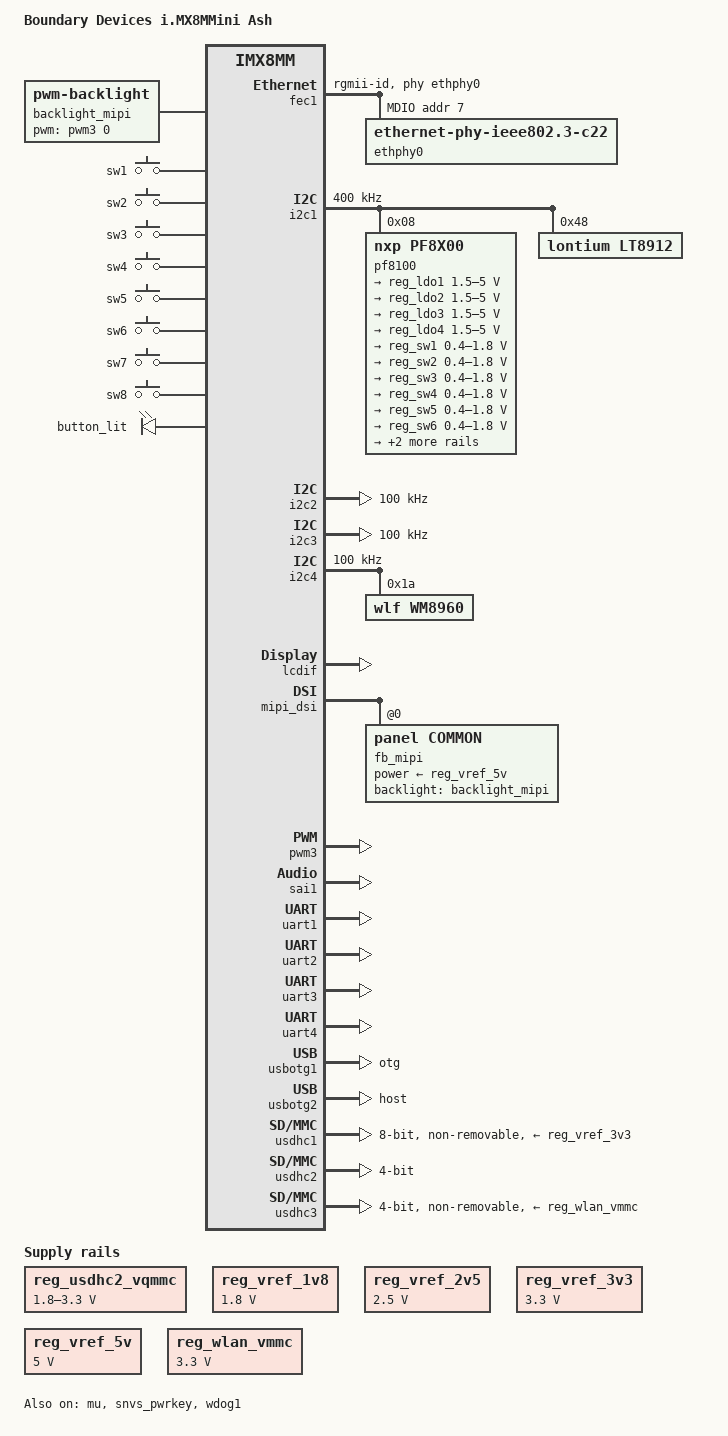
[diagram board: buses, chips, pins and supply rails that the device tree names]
// SPDX-License-Identifier: (GPL-2.0+ OR MIT)
/*
 * Copyright 2021 Boundary Devices
 */

/dts-v1/;
#include "imx8mm.dtsi"
#define MX8MMN(a, b)	MX8MM_##a b
#define IMX8MMN(a)	IMX8MM_##a

&iomuxc {
	pinctrl-names = "default";
	pinctrl-0 = <&pinctrl_hog>;

	pinctrl_backlight_mipi: bakclight-mipigrp {
		fsl,pins = <
#define GP_BACKLIGHT_MIPI_EN	<&gpio4 18 GPIO_ACTIVE_HIGH>
			MX8MMN(IOMUXC_SAI1_TXD6_GPIO4_IO18, 0x100)	/* U5(MIC2601) enable pin */
#define GP_DISPLAY_EN		<&gpio1 1 GPIO_ACTIVE_HIGH>
			MX8MMN(IOMUXC_GPIO1_IO01_GPIO1_IO1, 0x100)	/* J3 Pin 5 */
		>;
	};

	pinctrl_bt_rfkill: bt-rfkillgrp {
		fsl,pins = <
#define GP_BT_RFKILL_RESET	<&gpio4 25 GPIO_ACTIVE_LOW>
			MX8MMN(IOMUXC_SAI2_TXC_GPIO4_IO25, 0x100)
		>;
	};

	pinctrl_fec1: fec1grp {
		fsl,pins = <
			/* PAD_CTL_ODE is screwy on 8mm mini, avoid it */
			MX8MMN(IOMUXC_ENET_MDC_ENET1_MDC, 0x00)
			MX8MMN(IOMUXC_ENET_MDIO_ENET1_MDIO, 0x00)
			MX8MMN(IOMUXC_ENET_RD0_ENET1_RGMII_RD0, 0x91)
			MX8MMN(IOMUXC_ENET_RD1_ENET1_RGMII_RD1, 0x91)
			MX8MMN(IOMUXC_ENET_RD2_ENET1_RGMII_RD2, 0x91)
			MX8MMN(IOMUXC_ENET_RD3_ENET1_RGMII_RD3, 0x91)
			MX8MMN(IOMUXC_ENET_RXC_ENET1_RGMII_RXC, 0x91)
			MX8MMN(IOMUXC_ENET_RX_CTL_ENET1_RGMII_RX_CTL, 0x91)
			MX8MMN(IOMUXC_ENET_TD0_ENET1_RGMII_TD0, 0x1f)
			MX8MMN(IOMUXC_ENET_TD1_ENET1_RGMII_TD1, 0x1f)
			MX8MMN(IOMUXC_ENET_TD2_ENET1_RGMII_TD2, 0x1f)
			MX8MMN(IOMUXC_ENET_TD3_ENET1_RGMII_TD3, 0x1f)
			MX8MMN(IOMUXC_ENET_TXC_ENET1_RGMII_TXC, 0x1f)
			MX8MMN(IOMUXC_ENET_TX_CTL_ENET1_RGMII_TX_CTL, 0x1f)
#define GP_FEC1_RESET	<&gpio3 15 GPIO_ACTIVE_LOW>
			MX8MMN(IOMUXC_NAND_RE_B_GPIO3_IO15, 0x100)
#define GPIRQ_FEC1_PHY	<&gpio3 16 IRQ_TYPE_LEVEL_LOW>
			MX8MMN(IOMUXC_NAND_READY_B_GPIO3_IO16, 0x1c0)
		>;
	};

	pinctrl_gpio_keys: gpio-keysgrp {
		fsl,pins = <
#define GP_GPIOKEY_SW1	<&gpio3 21 GPIO_ACTIVE_HIGH>
			MX8MMN(IOMUXC_SAI5_RXD0_GPIO3_IO21, 0x1c0)
#define GP_GPIOKEY_SW2	<&gpio3 22 GPIO_ACTIVE_HIGH>
			MX8MMN(IOMUXC_SAI5_RXD1_GPIO3_IO22, 0x1c0)
#define GP_GPIOKEY_SW3	<&gpio3 23 GPIO_ACTIVE_HIGH>
			MX8MMN(IOMUXC_SAI5_RXD2_GPIO3_IO23, 0x1c0)
#define GP_GPIOKEY_SW4	<&gpio3 24 GPIO_ACTIVE_HIGH>
			MX8MMN(IOMUXC_SAI5_RXD3_GPIO3_IO24, 0x1c0)
#define GP_GPIOKEY_SW5	<&gpio5 2 GPIO_ACTIVE_HIGH>
			MX8MMN(IOMUXC_SAI3_MCLK_GPIO5_IO2, 0x1c0)
#define GP_GPIOKEY_SW6	<&gpio4 31 GPIO_ACTIVE_HIGH>
			MX8MMN(IOMUXC_SAI3_TXFS_GPIO4_IO31, 0x1c0)
#define GP_GPIOKEY_SW7	<&gpio5 0 GPIO_ACTIVE_HIGH>
			MX8MMN(IOMUXC_SAI3_TXC_GPIO5_IO0, 0x1c0)
#define GP_GPIOKEY_SW8	<&gpio5 1 GPIO_ACTIVE_HIGH>
			MX8MMN(IOMUXC_SAI3_TXD_GPIO5_IO1, 0x1c0)
		>;
	};

	pinctrl_gpio_leds: gpio-ledsgrp {
		fsl,pins = <
#define GP_BUTTON_LED	<&gpio1 8 GPIO_ACTIVE_LOW>
			MX8MMN(IOMUXC_GPIO1_IO08_GPIO1_IO8, 0x140)
                >;
        };

	pinctrl_hog: hoggrp {
		fsl,pins = <
			MX8MMN(IOMUXC_SAI2_RXC_GPIO4_IO22, 0x1c0)	/* BT_HOST_WAKE */
			MX8MMN(IOMUXC_SD2_WP_GPIO2_IO20, 0x140)		/* TP2 */
			MX8MMN(IOMUXC_SD2_RESET_B_GPIO2_IO19, 0x140)	/* TP7 */
			MX8MMN(IOMUXC_SAI2_MCLK_GPIO4_IO27, 0x140)	/* TP11 */
			MX8MMN(IOMUXC_SAI2_RXD0_GPIO4_IO23, 0x140)	/* TP12 */
			MX8MMN(IOMUXC_SAI3_RXFS_GPIO4_IO28, 0x140)	/* TP13 */
			MX8MMN(IOMUXC_SAI5_RXFS_GPIO3_IO19, 0x140)	/* TP22 */
			MX8MMN(IOMUXC_NAND_DATA01_GPIO3_IO7, 0x140)	/* TP23 */
			MX8MMN(IOMUXC_ECSPI2_SCLK_ECSPI2_SCLK, 0x140)	/* TP26 */
			MX8MMN(IOMUXC_ECSPI2_MISO_ECSPI2_MISO, 0x140)	/* TP27 */
			MX8MMN(IOMUXC_SAI5_RXC_GPIO3_IO20, 0x140)	/* TP30 */
			MX8MMN(IOMUXC_NAND_DATA03_GPIO3_IO9, 0x140)	/* TP31 */
			MX8MMN(IOMUXC_SAI1_RXD2_GPIO4_IO4, 0x140)	/* TP32 */
			MX8MMN(IOMUXC_SAI1_RXD4_GPIO4_IO6, 0x140)	/* TP33 */
			MX8MMN(IOMUXC_GPIO1_IO14_GPIO1_IO14, 0x140)	/* TP34 */
			MX8MMN(IOMUXC_GPIO1_IO15_GPIO1_IO15, 0x140)	/* TP36 */
			MX8MMN(IOMUXC_UART3_TXD_GPIO5_IO27, 0x140)	/* TP37 */
			MX8MMN(IOMUXC_GPIO1_IO03_GPIO1_IO3, 0x140)	/* TP38 */
			MX8MMN(IOMUXC_SPDIF_RX_PWM2_OUT, 0x140)		/* TP39 */
		>;
	};

	pinctrl_i2c1: i2c1grp {
		fsl,pins = <
			MX8MMN(IOMUXC_I2C1_SCL_I2C1_SCL, 0x400001c3)
			MX8MMN(IOMUXC_I2C1_SDA_I2C1_SDA, 0x400001c3)
		>;
	};

	pinctrl_i2c1_1: i2c1_1grp {
		fsl,pins = <
#define GP_I2C1_SCL	<&gpio5 14 GPIO_OPEN_DRAIN>
			MX8MMN(IOMUXC_I2C1_SCL_GPIO5_IO14, 0x400001c3)
#define GP_I2C1_SDA	<&gpio5 15 GPIO_OPEN_DRAIN>
			MX8MMN(IOMUXC_I2C1_SDA_GPIO5_IO15, 0x400001c3)
		>;
	};

	pinctrl_i2c1_lt8912: i2c1-lt8912grp {
		fsl,pins = <
#define GP_LT8912_RESET	<&gpio3 6 GPIO_ACTIVE_LOW>
			MX8MMN(IOMUXC_NAND_DATA00_GPIO3_IO6, 0x100)
#define GPIRQ_LT8912	<&gpio3 8 IRQ_TYPE_LEVEL_LOW>
			MX8MMN(IOMUXC_NAND_DATA02_GPIO3_IO8, 0x1c0)
		>;
	};

	pinctrl_i2c1_pf8100: i2c1-pf8100grp {
		fsl,pins = <
#define GP_I2C1_PF8100_EWARN	<&gpio3 3 GPIO_ACTIVE_LOW>
			MX8MMN(IOMUXC_NAND_CE2_B_GPIO3_IO3, 0x1c0)
#define GP_I2C1_PF8100_FAULT	<&gpio3 4 GPIO_ACTIVE_LOW>
			MX8MMN(IOMUXC_NAND_CE3_B_GPIO3_IO4, 0x1c0)
		>;
	};

	pinctrl_i2c2: i2c2grp {
		fsl,pins = <
			MX8MMN(IOMUXC_I2C2_SCL_I2C2_SCL, 0x400001c3)
			MX8MMN(IOMUXC_I2C2_SDA_I2C2_SDA, 0x400001c3)
			MX8MMN(IOMUXC_GPIO1_IO09_GPIO1_IO9, 0x1c0)
		>;
	};

	pinctrl_i2c2_1: i2c2_1grp {
		fsl,pins = <
#define GP_I2C2_SCL	<&gpio5 16 GPIO_OPEN_DRAIN>
			MX8MMN(IOMUXC_I2C2_SCL_GPIO5_IO16, 0x400001c3)
#define GP_I2C2_SDA	<&gpio5 17 GPIO_OPEN_DRAIN>
			MX8MMN(IOMUXC_I2C2_SDA_GPIO5_IO17, 0x400001c3)
		>;
	};

	pinctrl_ts_cyttsp5: ts-cyttsp5grp {
		fsl,pins = <
#define GPIRQ_CYTTSP5 		<&gpio1 6 IRQ_TYPE_EDGE_FALLING>
#define GP_CYTTSP5_IRQ		<&gpio1 6 GPIO_ACTIVE_LOW>
			MX8MMN(IOMUXC_GPIO1_IO06_GPIO1_IO6, 0x1c0)
			MX8MMN(IOMUXC_GPIO1_IO07_GPIO1_IO7, 0x140)
		>;
	};

	pinctrl_ts_gt911: ts-gt911grp {
		fsl,pins = <
#define GPIRQ_GT911 		<&gpio1 6 IRQ_TYPE_LEVEL_HIGH>
#define GP_GT911_IRQ 		<&gpio1 6 GPIO_ACTIVE_HIGH>
			MX8MMN(IOMUXC_GPIO1_IO06_GPIO1_IO6, 0x1c0)
			/* driver writes levels, instead of active/inactive */
#define GP_GT911_RESET		<&gpio1 7 GPIO_ACTIVE_HIGH>
			MX8MMN(IOMUXC_GPIO1_IO07_GPIO1_IO7, 0x100)
		>;
	};

	pinctrl_ts_ft5x06: ts-ft5x06grp {
		fsl,pins = <
#define GPIRQ_TS_FT5X06	<&gpio1 6 IRQ_TYPE_EDGE_FALLING>
#define GP_TS_FT5X06_WAKE	<&gpio1 6 GPIO_ACTIVE_LOW>
			MX8MMN(IOMUXC_GPIO1_IO06_GPIO1_IO6, 0x1c0)
#define GP_TS_FT5X06_RESET	<&gpio1 7 GPIO_ACTIVE_LOW>
			MX8MMN(IOMUXC_GPIO1_IO07_GPIO1_IO7, 0x100)
		>;
	};

	pinctrl_i2c3: i2c3grp {
		fsl,pins = <
			MX8MMN(IOMUXC_I2C3_SCL_I2C3_SCL, 0x400001c3)
			MX8MMN(IOMUXC_I2C3_SDA_I2C3_SDA, 0x400001c3)
		>;
	};

	pinctrl_i2c3_1: i2c3_1grp {
		fsl,pins = <
#define GP_I2C3_SCL	<&gpio5 18 GPIO_OPEN_DRAIN>
			MX8MMN(IOMUXC_I2C3_SCL_GPIO5_IO18, 0x400001c3)
#define GP_I2C3_SDA	<&gpio5 19 GPIO_OPEN_DRAIN>
			MX8MMN(IOMUXC_I2C3_SDA_GPIO5_IO19, 0x400001c3)
		>;
	};

	pinctrl_i2c3_rv4162: i2c3-rv4162grp {
		fsl,pins = <
#define GPIRQ_RV4162		<&gpio3 25 IRQ_TYPE_LEVEL_LOW>
			MX8MMN(IOMUXC_SAI5_MCLK_GPIO3_IO25, 0x1c0)
		>;
	};

	pinctrl_i2c4: i2c4grp {
		fsl,pins = <
			MX8MMN(IOMUXC_I2C4_SCL_I2C4_SCL, 0x400001c3)
			MX8MMN(IOMUXC_I2C4_SDA_I2C4_SDA, 0x400001c3)
		>;
	};

	pinctrl_i2c4_1: i2c4_1grp {
		fsl,pins = <
#define GP_I2C4_SCL	<&gpio5 20 GPIO_OPEN_DRAIN>
			MX8MMN(IOMUXC_I2C4_SCL_GPIO5_IO20, 0x400001c3)
#define GP_I2C4_SDA	<&gpio5 21 GPIO_OPEN_DRAIN>
			MX8MMN(IOMUXC_I2C4_SDA_GPIO5_IO21, 0x400001c3)
		>;
	};

	pinctrl_pwm3: pwm3grp {
		fsl,pins = <
			MX8MMN(IOMUXC_SPDIF_TX_PWM3_OUT, 0x100)
		>;
	};

	pinctrl_reg_usdhc2_vqmmc: reg_usdhc2_vqmmcgrp {
		fsl,pins = <
#define GP_REG_USDHC2_VSEL	<&gpio3 2 GPIO_ACTIVE_HIGH>
			MX8MMN(IOMUXC_NAND_CE1_B_GPIO3_IO2, 0x100)
		>;
	};

	pinctrl_reg_wlan_vmmc: reg-wlan-vmmcgrp {
		fsl,pins = <
#define GP_REG_WLAN_VMMC	<&gpio4 26 GPIO_ACTIVE_HIGH>
			MX8MMN(IOMUXC_SAI2_TXD0_GPIO4_IO26, 0x100)
		>;
	};

	pinctrl_sai1: sai1grp {
		fsl,pins = <
			/* wm8960 */
			MX8MMN(IOMUXC_SAI1_MCLK_SAI1_MCLK, 0xd6)
			MX8MMN(IOMUXC_SAI1_TXFS_SAI1_TX_SYNC, 0xd6)
			MX8MMN(IOMUXC_SAI1_TXC_SAI1_TX_BCLK, 0xd6)
			MX8MMN(IOMUXC_SAI1_TXD0_SAI1_TX_DATA0, 0xd6)
			MX8MMN(IOMUXC_SAI1_RXD0_SAI1_RX_DATA0, 0xd6)
		>;
	};

	pinctrl_sound_wm8960: sound-wm8960grp {
		fsl,pins = <
#define GP_WM8960_MIC_DET	<&gpio1 10 GPIO_ACTIVE_LOW>
			MX8MMN(IOMUXC_GPIO1_IO10_GPIO1_IO10, 0x80)
#define GP_TDA7991_STDBY	<&gpio4 16 GPIO_ACTIVE_LOW>	/* Low is standby */
			MX8MMN(IOMUXC_SAI1_TXD4_GPIO4_IO16, 0x100)
#define GP_TDA7991_MUTE		<&gpio4 13 GPIO_ACTIVE_LOW>
			MX8MMN(IOMUXC_SAI1_TXD1_GPIO4_IO13, 0x100)
#define GP_TDA7991_G0		<&gpio4 15 GPIO_ACTIVE_HIGH>
			MX8MMN(IOMUXC_SAI1_TXD3_GPIO4_IO15, 0x100)
#define GP_TDA7991_G1		<&gpio4 14 GPIO_ACTIVE_HIGH>
			MX8MMN(IOMUXC_SAI1_TXD2_GPIO4_IO14, 0x100)
		>;
	};

	pinctrl_uart1: uart1grp {
		fsl,pins = <
			MX8MMN(IOMUXC_UART1_RXD_UART1_DCE_RX, 0x140)
			MX8MMN(IOMUXC_UART1_TXD_UART1_DCE_TX, 0x140)
#define GP_UART1_TX_EN		<&gpio5 26 GPIO_ACTIVE_HIGH>
			MX8MMN(IOMUXC_UART3_RXD_GPIO5_IO26, 0x140)
#define GP_UART1_RXD_LED	<&gpio4 0 GPIO_ACTIVE_LOW>
			MX8MMN(IOMUXC_SAI1_RXFS_GPIO4_IO0, 0x140)
#define GP_UART1_TXD_LED	<&gpio4 1 GPIO_ACTIVE_LOW>
			MX8MMN(IOMUXC_SAI1_RXC_GPIO4_IO1, 0x140)
		>;
	};

	pinctrl_uart2: uart2grp {
		fsl,pins = <
			MX8MMN(IOMUXC_UART2_RXD_UART2_DCE_RX, 0x140)
			MX8MMN(IOMUXC_UART2_TXD_UART2_DCE_TX, 0x140)
		>;
	};

	pinctrl_uart3: uart3grp {
		fsl,pins = <
			MX8MMN(IOMUXC_ECSPI1_SCLK_UART3_DCE_RX, 0x140)
			MX8MMN(IOMUXC_ECSPI1_MOSI_UART3_DCE_TX, 0x140)
			MX8MMN(IOMUXC_ECSPI1_SS0_UART3_DCE_RTS_B, 0x140)
			MX8MMN(IOMUXC_ECSPI1_MISO_UART3_DCE_CTS_B, 0x140)
		>;
	};

	pinctrl_uart4: uart4grp {
		fsl,pins = <
			MX8MMN(IOMUXC_UART4_RXD_UART4_DCE_RX, 0x140)
			MX8MMN(IOMUXC_UART4_TXD_UART4_DCE_TX, 0x140)
		>;
	};

	pinctrl_usbotg1: usbotg1grp {
		fsl,pins = <
			MX8MMN(IOMUXC_GPIO1_IO12_USB1_OTG_PWR, 0x100)
			MX8MMN(IOMUXC_GPIO1_IO13_USB1_OTG_OC, 0x1c0)
		>;
	};

	pinctrl_usbotg2: usbotg2grp {
		fsl,pins = <
#define GP_OTG2_HUB_RESET	<&gpio5 13 GPIO_ACTIVE_LOW>
			MX8MMN(IOMUXC_ECSPI2_SS0_GPIO5_IO13, 0x100)
		>;
	};

	pinctrl_usdhc1: usdhc1grp {
		fsl,pins = <
			MX8MMN(IOMUXC_SD1_CLK_USDHC1_CLK, 0x190)
			MX8MMN(IOMUXC_SD1_CMD_USDHC1_CMD, 0x1d0)
			MX8MMN(IOMUXC_SD1_DATA0_USDHC1_DATA0, 0x1d0)
			MX8MMN(IOMUXC_SD1_DATA1_USDHC1_DATA1, 0x1d0)
			MX8MMN(IOMUXC_SD1_DATA2_USDHC1_DATA2, 0x1d0)
			MX8MMN(IOMUXC_SD1_DATA3_USDHC1_DATA3, 0x1d0)
			MX8MMN(IOMUXC_SD1_DATA4_USDHC1_DATA4, 0x1d0)
			MX8MMN(IOMUXC_SD1_DATA5_USDHC1_DATA5, 0x1d0)
			MX8MMN(IOMUXC_SD1_DATA6_USDHC1_DATA6, 0x1d0)
			MX8MMN(IOMUXC_SD1_DATA7_USDHC1_DATA7, 0x1d0)
#define GP_EMMC_RESET		<&gpio2 10 GPIO_ACTIVE_LOW>
			MX8MMN(IOMUXC_SD1_RESET_B_GPIO2_IO10, 0x141)
		>;
	};

	pinctrl_usdhc1_100mhz: usdhc1grp100mhz {
		fsl,pins = <
			MX8MMN(IOMUXC_SD1_CLK_USDHC1_CLK, 0x194)
			MX8MMN(IOMUXC_SD1_CMD_USDHC1_CMD, 0x1d4)
			MX8MMN(IOMUXC_SD1_DATA0_USDHC1_DATA0, 0x1d4)
			MX8MMN(IOMUXC_SD1_DATA1_USDHC1_DATA1, 0x1d4)
			MX8MMN(IOMUXC_SD1_DATA2_USDHC1_DATA2, 0x1d4)
			MX8MMN(IOMUXC_SD1_DATA3_USDHC1_DATA3, 0x1d4)
			MX8MMN(IOMUXC_SD1_DATA4_USDHC1_DATA4, 0x1d4)
			MX8MMN(IOMUXC_SD1_DATA5_USDHC1_DATA5, 0x1d4)
			MX8MMN(IOMUXC_SD1_DATA6_USDHC1_DATA6, 0x1d4)
			MX8MMN(IOMUXC_SD1_DATA7_USDHC1_DATA7, 0x1d4)
		>;
	};

	pinctrl_usdhc1_200mhz: usdhc1grp200mhz {
		fsl,pins = <
			MX8MMN(IOMUXC_SD1_CLK_USDHC1_CLK, 0x196)
			MX8MMN(IOMUXC_SD1_CMD_USDHC1_CMD, 0x1d6)
			MX8MMN(IOMUXC_SD1_DATA0_USDHC1_DATA0, 0x1d6)
			MX8MMN(IOMUXC_SD1_DATA1_USDHC1_DATA1, 0x1d6)
			MX8MMN(IOMUXC_SD1_DATA2_USDHC1_DATA2, 0x1d6)
			MX8MMN(IOMUXC_SD1_DATA3_USDHC1_DATA3, 0x1d6)
			MX8MMN(IOMUXC_SD1_DATA4_USDHC1_DATA4, 0x1d6)
			MX8MMN(IOMUXC_SD1_DATA5_USDHC1_DATA5, 0x1d6)
			MX8MMN(IOMUXC_SD1_DATA6_USDHC1_DATA6, 0x1d6)
			MX8MMN(IOMUXC_SD1_DATA7_USDHC1_DATA7, 0x1d6)
		>;
	};

	pinctrl_usdhc2: usdhc2grp {
		fsl,pins = <
			MX8MMN(IOMUXC_SD2_CLK_USDHC2_CLK, 0x190)
			MX8MMN(IOMUXC_SD2_CMD_USDHC2_CMD, 0x1d0)
			MX8MMN(IOMUXC_SD2_DATA0_USDHC2_DATA0, 0x1d0)
			MX8MMN(IOMUXC_SD2_DATA1_USDHC2_DATA1, 0x1d0)
			MX8MMN(IOMUXC_SD2_DATA2_USDHC2_DATA2, 0x1d0)
			MX8MMN(IOMUXC_SD2_DATA3_USDHC2_DATA3, 0x1d0)
#define GP_USDHC2_CD	<&gpio2 12 GPIO_ACTIVE_LOW>
			MX8MMN(IOMUXC_SD2_CD_B_GPIO2_IO12, 0x1c4)
		>;
	};

	pinctrl_usdhc2_100mhz: usdhc2grp100mhz {
		fsl,pins = <
			MX8MMN(IOMUXC_SD2_CLK_USDHC2_CLK, 0x194)
			MX8MMN(IOMUXC_SD2_CMD_USDHC2_CMD, 0x1d4)
			MX8MMN(IOMUXC_SD2_DATA0_USDHC2_DATA0, 0x1d4)
			MX8MMN(IOMUXC_SD2_DATA1_USDHC2_DATA1, 0x1d4)
			MX8MMN(IOMUXC_SD2_DATA2_USDHC2_DATA2, 0x1d4)
			MX8MMN(IOMUXC_SD2_DATA3_USDHC2_DATA3, 0x1d4)
		>;
	};

	pinctrl_usdhc2_200mhz: usdhc2grp200mhz {
		fsl,pins = <
			MX8MMN(IOMUXC_SD2_CLK_USDHC2_CLK, 0x196)
			MX8MMN(IOMUXC_SD2_CMD_USDHC2_CMD, 0x1d6)
			MX8MMN(IOMUXC_SD2_DATA0_USDHC2_DATA0, 0x1d6)
			MX8MMN(IOMUXC_SD2_DATA1_USDHC2_DATA1, 0x1d6)
			MX8MMN(IOMUXC_SD2_DATA2_USDHC2_DATA2, 0x1d6)
			MX8MMN(IOMUXC_SD2_DATA3_USDHC2_DATA3, 0x1d6)
		>;
	};

	pinctrl_usdhc3: usdhc3grp {
		fsl,pins = <
			MX8MMN(IOMUXC_NAND_WE_B_USDHC3_CLK, 0x190)
			MX8MMN(IOMUXC_NAND_WP_B_USDHC3_CMD, 0x1d0)
			MX8MMN(IOMUXC_NAND_DATA04_USDHC3_DATA0, 0x1d0)
			MX8MMN(IOMUXC_NAND_DATA05_USDHC3_DATA1, 0x1d0)
			MX8MMN(IOMUXC_NAND_DATA06_USDHC3_DATA2, 0x1d0)
			MX8MMN(IOMUXC_NAND_DATA07_USDHC3_DATA3, 0x1d0)
			/* Bluetooth slow clock */
			MX8MMN(IOMUXC_GPIO1_IO00_ANAMIX_REF_CLK_32K, 0x03)
			MX8MMN(IOMUXC_SAI2_TXFS_GPIO4_IO24, 0x140)	/* WL_IRQ */
			MX8MMN(IOMUXC_SAI2_RXFS_GPIO4_IO21, 0x140)	/* CLK_REQ */
		>;
	};

	pinctrl_usdhc3_100mhz: usdhc3grp100mhz {
		fsl,pins = <
			MX8MMN(IOMUXC_NAND_WE_B_USDHC3_CLK, 0x194)
			MX8MMN(IOMUXC_NAND_WP_B_USDHC3_CMD, 0x1d4)
			MX8MMN(IOMUXC_NAND_DATA04_USDHC3_DATA0, 0x1d4)
			MX8MMN(IOMUXC_NAND_DATA05_USDHC3_DATA1, 0x1d4)
			MX8MMN(IOMUXC_NAND_DATA06_USDHC3_DATA2, 0x1d4)
			MX8MMN(IOMUXC_NAND_DATA07_USDHC3_DATA3, 0x1d4)
		>;
	};

	pinctrl_usdhc3_200mhz: usdhc3grp200mhz {
		fsl,pins = <
			MX8MMN(IOMUXC_NAND_WE_B_USDHC3_CLK, 0x196)
			MX8MMN(IOMUXC_NAND_WP_B_USDHC3_CMD, 0x1d6)
			MX8MMN(IOMUXC_NAND_DATA04_USDHC3_DATA0, 0x1d6)
			MX8MMN(IOMUXC_NAND_DATA05_USDHC3_DATA1, 0x1d6)
			MX8MMN(IOMUXC_NAND_DATA06_USDHC3_DATA2, 0x1d6)
			MX8MMN(IOMUXC_NAND_DATA07_USDHC3_DATA3, 0x1d6)
		>;
	};

	pinctrl_wdog: wdoggrp {
		fsl,pins = <
			MX8MMN(IOMUXC_GPIO1_IO02_WDOG1_WDOG_B, 0x140)
		>;
	};
};

/ {
	model = "Boundary Devices i.MX8MMini Ash";
	compatible = "boundary,imx8mm-ash", "fsl,imx8mm";

	aliases {
		a53 = &A53_0;
		backlight_mipi = &backlight_mipi;
		fb_mipi = &fb_mipi;
		lcdif = &lcdif;
		mipi = &fb_mipi;
		mipi_dsi = &mipi_dsi;
		pwm_mipi = &pwm3;
		t_mipi = &t_mipi;
		ts_cyttsp5 = &ts_cyttsp5;
		ts_ft5x06 = &ts_ft5x06;
		ts_goodix = &ts_goodix;
	};

	backlight_mipi: backlight-mipi {
		brightness-levels = <0 1 2 3 4 5 6 7 8 9 10>;
		compatible = "pwm-backlight";
		default-brightness-level = <8>;
		display = <&display_subsystem>;
		enable-gpios = GP_BACKLIGHT_MIPI_EN;
		pinctrl-names = "default";
		pinctrl-0 = <&pinctrl_backlight_mipi>;
		pwms = <&pwm3 0 30000>;		/* 33.3 Khz */
		status = "okay";
	};

	bt-rfkill {
		compatible = "net,rfkill-gpio";
		pinctrl-names = "default";
		pinctrl-0 = <&pinctrl_bt_rfkill>;
		name = "bt-rfkill";
		type = <2>; /* Bluetooth */
		reset-gpios = GP_BT_RFKILL_RESET;
		status = "okay";
	};

	gpio-keys {
		compatible = "gpio-keys";
		pinctrl-names = "default";
		pinctrl-0 = <&pinctrl_gpio_keys>;

		sw1 {
			label = "sw1";
			gpios = GP_GPIOKEY_SW1;
			linux,code = <KEY_1>;
		};

		sw2 {
			label = "sw2";
			gpios = GP_GPIOKEY_SW2;
			linux,code = <KEY_2>;
		};

		sw3 {
			label = "sw3";
			gpios = GP_GPIOKEY_SW3;
			linux,code = <KEY_3>;
		};

		sw4 {
			label = "sw4";
			gpios = GP_GPIOKEY_SW4;
			linux,code = <KEY_4>;
		};

		sw5 {
			label = "sw5";
			gpios = GP_GPIOKEY_SW5;
			linux,code = <KEY_5>;
		};

		sw6 {
			label = "sw6";
			gpios = GP_GPIOKEY_SW6;
			linux,code = <KEY_6>;
		};

		sw7 {
			label = "sw7";
			gpios = GP_GPIOKEY_SW7;
			linux,code = <KEY_7>;
		};

		sw8 {
			label = "sw8";
			gpios = GP_GPIOKEY_SW8;
			linux,code = <KEY_8>;
		};
	};

	gpio_leds: leds {
		compatible = "gpio-leds";
		pinctrl-names = "default";
		pinctrl-0 = <&pinctrl_gpio_leds>;

		button_lit {
			default-state = "off";
			gpios = GP_BUTTON_LED;
			retain-state-suspended;
		};
	};

	reg_usdhc2_vqmmc: regulator-usdhc2-vqmmc {
		compatible = "regulator-gpio";
		pinctrl-names = "default";
		pinctrl-0 = <&pinctrl_reg_usdhc2_vqmmc>;
		regulator-name = "reg_sd2_vsel";
		regulator-min-microvolt = <1800000>;
		regulator-max-microvolt = <3300000>;
		regulator-type = "voltage";
		regulator-boot-on;
		regulator-always-on;
		gpios = GP_REG_USDHC2_VSEL;
		states = <1800000 0x1
			  3300000 0x0>;
	};

	reg_vref_1v8: regulator-vref-1v8 {
		compatible = "regulator-fixed";
		regulator-name = "vref-1v8";
		regulator-min-microvolt = <1800000>;
		regulator-max-microvolt = <1800000>;
	};

	reg_vref_2v5: regulator-vref-2v5 {
		compatible = "regulator-fixed";
		regulator-name = "vref-2v5";
		regulator-min-microvolt = <2500000>;
		regulator-max-microvolt = <2500000>;
	};

	reg_vref_3v3: regulator-vref-3v3 {
		compatible = "regulator-fixed";
		regulator-name = "vref-3v3";
		regulator-min-microvolt = <3300000>;
		regulator-max-microvolt = <3300000>;
	};

	reg_vref_5v: regulator-vref-5v {
		compatible = "regulator-fixed";
		regulator-name = "vref-5v";
		regulator-min-microvolt = <5000000>;
		regulator-max-microvolt = <5000000>;
	};

	reg_wlan_vmmc: regulator-wlan-vmmc {
		compatible = "regulator-fixed";
		pinctrl-names = "default";
		pinctrl-0 = <&pinctrl_reg_wlan_vmmc>;
		regulator-name = "reg_wlan_vmmc";
		regulator-min-microvolt = <3300000>;
		regulator-max-microvolt = <3300000>;
		gpio = GP_REG_WLAN_VMMC;
		startup-delay-us = <70000>;
		enable-active-high;
	};

#if 0
	sound-wm8960 {
		amp-gain-gpios = GP_TDA7991_G0, GP_TDA7991_G1;
		/* amp-gain-seq = /bits/ 8 <0 1 2 3>; */ /* default */
		amp-mute-gpios = GP_TDA7991_MUTE;
		/* delay between mute and standby enter */
		amp-standby-enter-wait-ms = <50>;
		/* delay between standby exit and unmute */
		amp-standby-exit-delay-ms = <100>;
		amp-standby-gpios = GP_TDA7991_STDBY;
		audio-codec = <&wm8960>;
		audio-routing =
			"Ext Spk", "HP_L",
			"Ext Spk", "HP_R",
			"LINPUT1", "Main MIC",
			"Main MIC", "MICB";
		codec-master;
		compatible = "fsl,imx-audio-wm8960";
		cpu-dai = <&sai1>;
		mic-det-gpios = GP_WM8960_MIC_DET;
		model = "wm8960-audio";
		pinctrl-names = "default";
		pinctrl-0 = <&pinctrl_sound_wm8960>;
	};
#endif
};

#if 0
&A53_0 {
	cpu-supply = <&reg_sw3>;
};
#endif

&fec1 {
	fsl,magic-packet;
	pinctrl-names = "default";
	pinctrl-0 = <&pinctrl_fec1>;
	phy-handle = <&ethphy0>;
	phy-mode = "rgmii-id";
#if 0
	phy-reset-duration = <10>;
	phy-reset-gpios = GP_FEC1_RESET;
	phy-reset-post-delay = <150>;
#endif
	status = "okay";

	mdio {
		#address-cells = <1>;
		#size-cells = <0>;

		ethphy0: ethernet-phy@7 {
			compatible = "ethernet-phy-ieee802.3-c22";
			reg = <7>;
			interrupts-extended = GPIRQ_FEC1_PHY;
			rxc-skew-ps = <1860>;
			txc-skew-ps = <1860>;
		};
	};
};

#if 0
&gpu {
	status = "okay";
};

&gpumix_pd {
	dvfs-supply = <&reg_sw4>;
	idle-microvolt = <850000 805000 900000>;
};
#endif

&i2c1 {
	clock-frequency = <400000>;
	pinctrl-names = "default", "gpio";
	pinctrl-0 = <&pinctrl_i2c1>;
	pinctrl-1 = <&pinctrl_i2c1_1>;
	scl-gpios = GP_I2C1_SCL;
	sda-gpios = GP_I2C1_SDA;
	status = "okay";

	pf8100@8 {
		compatible = "nxp,pf8x00";
		pinctrl-names = "default";
		pinctrl-0 = <&pinctrl_i2c1_pf8100>;
		reg = <0x08>;

		regulators {
			reg_ldo1: ldo1 {
				regulator-always-on;
				regulator-boot-on;
				regulator-max-microvolt = <5000000>;
				regulator-min-microvolt = <1500000>;
			};

			reg_ldo2: ldo2 {
				regulator-always-on;
				regulator-boot-on;
				regulator-max-microvolt = <5000000>;
				regulator-min-microvolt = <1500000>;
#if 0
				/* vselect low is 3.3V, high is 1.8V */
				vselect-en;
#endif
			};

			reg_ldo3: ldo3 {
				regulator-always-on;
				regulator-boot-on;
				regulator-max-microvolt = <5000000>;
				regulator-min-microvolt = <1500000>;
			};

			reg_ldo4: ldo4 {
				regulator-always-on;
				regulator-boot-on;
				regulator-max-microvolt = <5000000>;
				regulator-min-microvolt = <1500000>;
			};

			reg_sw1: sw1 {
				phase = <0>;
				ilim-ma = <4500>;
				regulator-always-on;
				regulator-boot-on;
				regulator-max-microvolt = <1800000>;
				regulator-min-microvolt =  <400000>;
			};

			reg_sw2: sw2 {
				regulator-always-on;
				regulator-boot-on;
				regulator-max-microvolt = <1800000>;
				regulator-min-microvolt =  <400000>;
			};

			reg_sw3: sw3 {
				regulator-always-on;
				regulator-boot-on;
				regulator-max-microvolt = <1800000>;
				regulator-min-microvolt =  <400000>;
				fast-slew = <1>;
			};

			reg_sw4: sw4 {
				regulator-always-on;
				regulator-boot-on;
				regulator-max-microvolt = <1800000>;
				regulator-min-microvolt =  <400000>;
				fast-slew = <1>;
			};

			reg_sw5: sw5 {
				regulator-always-on;
				regulator-boot-on;
				regulator-max-microvolt = <1800000>;
				regulator-min-microvolt =  <400000>;
			};

			reg_sw6: sw6 {
				regulator-always-on;
				regulator-boot-on;
				regulator-max-microvolt = <1800000>;
				regulator-min-microvolt =  <400000>;
			};

			reg_sw7: sw7 {
				regulator-always-on;
				regulator-boot-on;
				regulator-max-microvolt = <4100000>;
				regulator-min-microvolt = <1000000>;
			};

			reg_vsnvs: vsnvs {
				regulator-always-on;
				regulator-boot-on;
				regulator-max-microvolt = <3300000>;
				regulator-min-microvolt = <1800000>;
			};
		};
	};

	lt8912@48 {
		compatible = "lontium,lt8912" ;
		display-dsi = <&fb_mipi>;
		interrupts-extended = GPIRQ_LT8912;
		pinctrl-names = "default";
		pinctrl-0 = <&pinctrl_i2c1_lt8912>;
		reg = <0x48> ;
		reset-gpios = GP_LT8912_RESET;
	};
};

&i2c2 {
	clock-frequency = <100000>;
	pinctrl-names = "default", "gpio";
	pinctrl-0 = <&pinctrl_i2c2>;
	pinctrl-1 = <&pinctrl_i2c2_1>;
	scl-gpios = GP_I2C2_SCL;
	sda-gpios = GP_I2C2_SDA;
	status = "okay";

	ts_cyttsp5: touchscreen@24 {
		compatible = "cy,cyttsp5_i2c_adapter";
		cy,adapter_id = "cyttsp5_i2c_adapter";
		interrupts-extended = GPIRQ_CYTTSP5;
		pinctrl-names = "default";
		pinctrl-0 = <&pinctrl_ts_cyttsp5>;
		reg = <0x24>;
		status = "disabled";
		wakeup-gpios = GP_CYTTSP5_IRQ;

		cy,core {
			cy,name = "cyttsp5_core";
			cy,hid_desc_register = <1>;
			/* CY_CORE_FLAG_RESTORE_PARAMETERS */
			cy,flags = <4>;
			/* CY_CORE_EWG_NONE */
			cy,easy_wakeup_gesture = <0>;
			cy,btn_keys = <172 /* KEY_HOMEPAGE */
					   /* previously was KEY_HOME, new Android versions use KEY_HOMEPAGE */
				       139 /* KEY_MENU */
				       158 /* KEY_BACK */
				       217 /* KEY_SEARCH */
				       114 /* KEY_VOLUMEDOWN */
				       115 /* KEY_VOLUMEUP */
				       212 /* KEY_CAMERA */
				       116>; /* KEY_POWER */
			cy,btn_keys-tag = <0>;

			cy,mt {
				cy,name = "cyttsp5_mt";

				cy,inp_dev_name = "cyttsp5_mt";
				cy,flags = <0>;
				cy,abs =
					/* ABS_MT_POSITION_X, CY_ABS_MIN_X, CY_ABS_MAX_X, 0, 0 */
					<0x35 0 880 0 0
					/* ABS_MT_POSITION_Y, CY_ABS_MIN_Y, CY_ABS_MAX_Y, 0, 0 */
					0x36 0 1280 0 0
					/* ABS_MT_PRESSURE, CY_ABS_MIN_P, CY_ABS_MAX_P, 0, 0 */
					0x3a 0 255 0 0
					/* CY_IGNORE_VALUE, CY_ABS_MIN_W, CY_ABS_MAX_W, 0, 0 */
					0xffff 0 255 0 0
					/* ABS_MT_TRACKING_ID, CY_ABS_MIN_T, CY_ABS_MAX_T, 0, 0 */
					0x39 0 15 0 0
					/* ABS_MT_TOUCH_MAJOR, 0, 255, 0, 0 */
					0x30 0 255 0 0
					/* ABS_MT_TOUCH_MINOR, 0, 255, 0, 0 */
					0x31 0 255 0 0
					/* ABS_MT_ORIENTATION, -127, 127, 0, 0 */
					0x34 0xffffff81 127 0 0
					/* ABS_MT_TOOL_TYPE, 0, MT_TOOL_MAX, 0, 0 */
					0x37 0 1 0 0
					/* ABS_DISTANCE, 0, 255, 0, 0 */
					0x19 0 255 0 0>;

				cy,vkeys_x = <720>;
				cy,vkeys_y = <1280>;

				cy,virtual_keys = /* KeyCode CenterX CenterY Width Height */
					/* KEY_BACK */
					<158 1360 90 160 180
					/* KEY_MENU */
					139 1360 270 160 180
					/* KEY_HOMEPAGE */
					172 1360 450 160 180
					/* KEY SEARCH */
					217 1360 630 160 180>;
			};

			cy,btn {
				cy,name = "cyttsp5_btn";

				cy,inp_dev_name = "cyttsp5_btn";
			};

			cy,proximity {
				cy,name = "cyttsp5_proximity";

				cy,inp_dev_name = "cyttsp5_proximity";
				cy,abs =
					/* ABS_DISTANCE, CY_PROXIMITY_MIN_VAL, CY_PROXIMITY_MAX_VAL, 0, 0 */
					<0x19 0 1 0 0>;
			};
		};
	};

	ts_ft5x06: touchscreen@38 {
		compatible = "edt,ft5x06-ts";
		interrupts-extended = GPIRQ_TS_FT5X06;
		pinctrl-names = "default";
		pinctrl-0 = <&pinctrl_ts_ft5x06>;
		reg = <0x38>;
		reset-gpios = GP_TS_FT5X06_RESET;
		status = "disabled";
		wakeup-gpios = GP_TS_FT5X06_WAKE;
	};

	ts_goodix: touchscreen@5d {
		compatible = "goodix,gt9271";
		display = <&display_subsystem>;
		esd-recovery-timeout-ms = <2000>;
		interrupts-extended = GPIRQ_GT911;
		irq-gpios = GP_GT911_IRQ;
		pinctrl-names = "default";
		pinctrl-0 = <&pinctrl_ts_gt911>;
		reg = <0x5d>;
		reset-gpios = GP_GT911_RESET;
		status = "disabled";
	};
};

&i2c3 {
	clock-frequency = <100000>;
	pinctrl-names = "default", "gpio";
	pinctrl-0 = <&pinctrl_i2c3>;
	pinctrl-1 = <&pinctrl_i2c3_1>;
	scl-gpios = GP_I2C3_SCL;
	sda-gpios = GP_I2C3_SDA;
	status = "okay";

#if 0
	rtc@68 {
		compatible = "microcrystal,rv4162";
		pinctrl-names = "default";
		pinctrl-0 = <&pinctrl_i2c3_rv4162>;
		reg = <0x68>;
		interrupts-extended = GPIRQ_RV4162;
		wakeup-source;
	};
#endif
};

&i2c4 {
	clock-frequency = <100000>;
	pinctrl-names = "default", "gpio";
	pinctrl-0 = <&pinctrl_i2c4>;
	pinctrl-1 = <&pinctrl_i2c4_1>;
	scl-gpios = GP_I2C4_SCL;
	sda-gpios = GP_I2C4_SDA;
	status = "okay";

	wm8960: codec@1a {
		compatible = "wlf,wm8960";
		reg = <0x1a>;
		clocks = <&clk IMX8MMN(CLK_SAI1_ROOT)>;
		clock-names = "mclk";
		wlf,shared-lrclk;
	};
};

&lcdif {
	status = "okay";
};

&mipi_dsi {
	assigned-clocks = <&clk IMX8MMN(CLK_DSI_CORE)>,
			  <&clk IMX8MMN(CLK_DSI_PHY_REF)>,
			  <&clk IMX8MMN(VIDEO_PLL1_REF_SEL)>,
			  <&clk IMX8MMN(CLK_LCDIF_PIXEL)>;
	assigned-clock-parents = <&clk IMX8MMN(SYS_PLL1_266M)>,
				 <&clk IMX8MMN(VIDEO_PLL1_OUT)>,
				 <&clk IMX8MMN(CLK_24M)>;
	assigned-clock-rates = <266000000>, <0>, <0>, <66000000>;

	clocks = <&clk IMX8MMN(CLK_DSI_CORE)>,
		 <&clk IMX8MMN(CLK_DSI_PHY_REF)>,
		 <&clk IMX8MMN(CLK_LCDIF_PIXEL)>;
	clock-names = "cfg", "pll-ref", "pixel_clock";
	status = "okay";

	fb_mipi: panel@0 {
		backlight = <&backlight_mipi>;
		bits-per-color = <8>;
		bridge-de-active = <0>;
		bus-format = "rgb888";
		clocks = <&mipi_dsi 0>,
			<&clk IMX8MMN(CLK_LCDIF_PIXEL)>;
		clock-names = "mipi_clk", "pixel_clock";
		compatible = "panel,common";
		dsi-format = "rgb888";
		dsi-lanes = <4>;
		mode-skip-eot;
		mode-video;
#if 1
		mode-video-burst;
#else
		mode-video-sync-pulse;
#endif
		panel-height-mm = <136>;
		panel-width-mm = <217>;
		power-supply = <&reg_vref_5v>;
		reg = <0>;
		spwg;

		display-timings {
			t_mipi: t-dsi-default {
				/* DT070BTFT by default */
				clock-frequency = <66000000>;
				hactive = <1024>;
				vactive = <600>;
				hback-porch = <220>;
				hfront-porch = <40>;
				vback-porch = <21>;
				vfront-porch = <4>;
				hsync-len = <60>;
				vsync-len = <10>;
				hsync-active = <0>;
				vsync-active = <0>;
				de-active = <1>;
			};
		};
	};
};

&mu {
	status = "okay";
};

&pwm3 {
	pinctrl-names = "default";
	pinctrl-0 = <&pinctrl_pwm3>;
	status = "okay";
};

&sai1 {
	assigned-clocks = <&clk IMX8MMN(AUDIO_PLL1)>, <&clk IMX8MMN(AUDIO_PLL2)>, <&clk IMX8MMN(CLK_SAI1)>;
	assigned-clock-parents = <0>, <0>, <&clk IMX8MMN(AUDIO_PLL1_OUT)>;
	assigned-clock-rates = <786432000>, <722534400>, <12288000>;
	pinctrl-names = "default";
	pinctrl-0 = <&pinctrl_sai1>;
	status = "okay";
};

&snvs_pwrkey {
	status = "okay";
};

&uart1 { /* RS485 */
	assigned-clocks = <&clk IMX8MMN(CLK_UART1)>;
	assigned-clock-parents = <&clk IMX8MMN(SYS_PLL1_80M)>;
	control-gpios = GP_UART1_TX_EN, GP_UART1_RXD_LED, GP_UART1_TXD_LED;
	linux,rs485-enabled-at-boot-time;
#define M_TX_EN		1
#define M_TX_ACTIVE	2
#define M_RX_ACTIVE	4
	off_levels = <0>;
	pinctrl-names = "default";
	pinctrl-0 = <&pinctrl_uart1>;
	rs232_levels = <0>;
	rs232_txen_mask = <0>;
	rs232_txen_levels = <0>;
	rs485_levels = <0>;
	rs485_txen_levels = <0x3>;
	rs485_txen_mask = <0x3>;
	rxact_mask = <M_RX_ACTIVE>;
	rxact_levels = <M_RX_ACTIVE>;
	status = "okay";
	uart-has-rs485-half-duplex;
};

&uart2 { /* console */
	assigned-clocks = <&clk IMX8MMN(CLK_UART2)>;
	assigned-clock-parents = <&clk IMX8MMN(CLK_24M)>;
	pinctrl-names = "default";
	pinctrl-0 = <&pinctrl_uart2>;
	status = "okay";
};

&uart3 { /* Bluetooth */
	assigned-clocks = <&clk IMX8MMN(CLK_UART3)>;
	assigned-clock-parents = <&clk IMX8MMN(SYS_PLL1_80M)>;
	pinctrl-names = "default";
	pinctrl-0 = <&pinctrl_uart3>;
	uart-has-rtscts;
	status = "okay";
};

&uart4 {
	assigned-clocks = <&clk IMX8MMN(CLK_UART4)>;
	assigned-clock-parents = <&clk IMX8MMN(SYS_PLL1_80M)>;
	pinctrl-names = "default";
	pinctrl-0 = <&pinctrl_uart4>;
	status = "okay";
};

&usbotg1 {
	dr_mode = "otg";
	over-current-active-low;
	pinctrl-names = "default";
	pinctrl-0 = <&pinctrl_usbotg1>;
	power-active-high;
	status = "okay";
};

&usbotg2 {
	disable-over-current;
	dr_mode = "host";
	pinctrl-names = "default";
	pinctrl-0 = <&pinctrl_usbotg2>;
	power-active-high;
	reset-gpios = GP_OTG2_HUB_RESET;
	status = "okay";
};

&usdhc1 {
	bus-width = <8>;
	no-mmc-hs400;
	non-removable;
	pinctrl-names = "default", "state_100mhz", "state_200mhz";
	pinctrl-0 = <&pinctrl_usdhc1>;
	pinctrl-1 = <&pinctrl_usdhc1_100mhz>;
	pinctrl-2 = <&pinctrl_usdhc1_200mhz>;
	status = "okay";
	vmmc-supply = <&reg_vref_3v3>;
	vqmmc-1-8-v;
	vqmmc-supply = <&reg_vref_1v8>;
};

&usdhc2 {
	bus-width = <4>;
	cd-gpios = GP_USDHC2_CD;
	pinctrl-names = "default", "state_100mhz", "state_200mhz";
	pinctrl-0 = <&pinctrl_usdhc2>;
	pinctrl-1 = <&pinctrl_usdhc2_100mhz>;
	pinctrl-2 = <&pinctrl_usdhc2_200mhz>;
	status = "okay";
	vqmmc-supply = <&reg_usdhc2_vqmmc>;
};

&usdhc3 {
	bus-width = <4>;
	keep-power-in-suspend;
	no-sd-uhs-sdr104;
	non-removable;
	pinctrl-names = "default", "state_100mhz", "state_200mhz";
	pinctrl-0 = <&pinctrl_usdhc3>;
	pinctrl-1 = <&pinctrl_usdhc3_100mhz>;
	pinctrl-2 = <&pinctrl_usdhc3_200mhz>;
	pm-ignore-notify;
	status = "okay";
	vmmc-supply = <&reg_wlan_vmmc>;
	vqmmc-1-8-v;
};

#if 0
&vpu_g1 {
	status = "okay";
};

&vpu_g2 {
	status = "okay";
};

&vpu_h1 {
	status = "okay";
};

&vpumix_pd {
	dvfs-supply = <&reg_sw5>;
	idle-microvolt = <850000 805000 900000>;
};
#endif

&wdog1 {
	pinctrl-names = "default";
	pinctrl-0 = <&pinctrl_wdog>;
	fsl,ext-reset-output;
	status = "okay";
};
